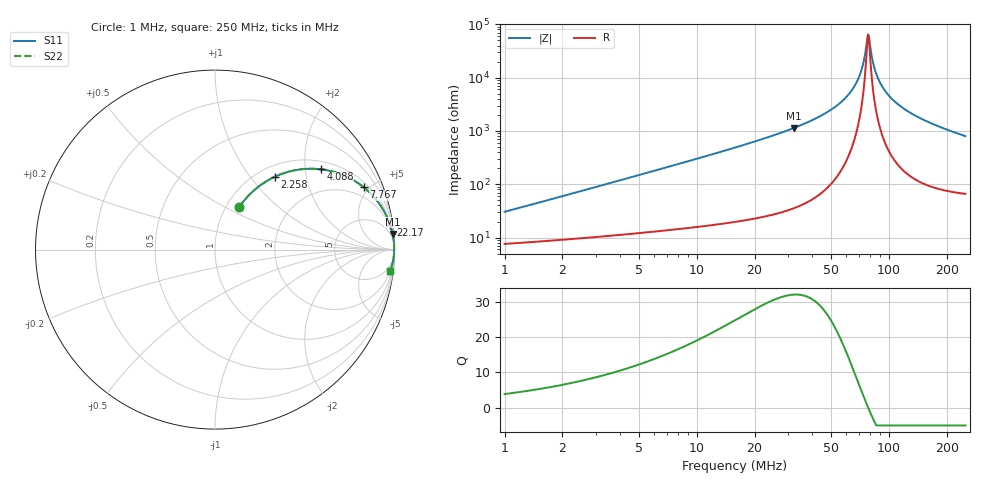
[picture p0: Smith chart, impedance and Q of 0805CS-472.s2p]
# MHz S MA R 50
!Freq  MagS11  AngS11  MagS21  AngS21  MagS12  AngS12  MagS22  AngS22
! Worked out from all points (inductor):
!   801 points, 1 MHz to 250 MHz, reference 50 ohm
!   read as one part in series: L = 4.7 uH near 1.028 MHz
!   highest Q = 32 at 31.97 MHz (marker M1), where L = 5.65 uH
!   self-resonance near 77.87 MHz
!   S11 on the Smith chart (normalised r, x): 1 MHz: 1.15, +0.59; 2.258 MHz: 1.19, +1.33; 4.088 MHz: 1.23, +2.42; 7.767 MHz: 1.28, +4.63; 22.17 MHz: 1, +14; 250 MHz: 2, -16
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1  0.2733 60.2  0.8962 -15.3  0.8962 -15.3  0.2733 60.2
2.257856  0.5258 50.6  0.7803 -31.4  0.7803 -31.4  0.5258 50.6
2.521477  0.5667 48.4  0.7539 -34.2  0.7539 -34.2  0.5667 48.4
4.087659  0.7393 37.3  0.6081 -47.4  0.6081 -47.4  0.7393 37.3
6.314115  0.8585 27.1  0.4563 -58.9  0.4563 -58.9  0.8585 27.1
7.766677  0.8986 22.7  0.3872 -63.7  0.3872 -63.7  0.8986 22.7
15.92089  0.9723 11.4  0.198 -76.3  0.198 -76.3  0.9723 11.4
22.17399  0.9857 7.9  0.1383 -80.1  0.1383 -80.1  0.9857 7.9
31.9674  0.9934 5.0  0.08755 -83.2  0.08755 -83.2  0.9934 5.0
39.86805  0.996 3.6  0.06251 -84.6  0.06251 -84.6  0.996 3.6
52.90776  0.9979 2.0  0.03453 -85.5  0.03453 -85.5  0.9979 2.0
63.74555  0.9984 1.0  0.0177 -84.3  0.0177 -84.3  0.9984 1.0
71.18831  0.9985 0.5  0.00811 -79.1  0.00811 -79.1  0.9985 0.5
73.68783  0.9985 0.3  0.005197 -73.1  0.005197 -73.1  0.9985 0.3
76.27512  0.9985 0.1  0.002501 -52.6  0.002501 -52.6  0.9985 0.1
77.8709  0.9985 0.0  0.001548 -7.3  0.001548 -7.3  0.9985 0.0
79.50006  0.9984 -0.1  0.002229 45.6  0.002229 45.6  0.9984 -0.1
83.43522  0.9984 -0.3  0.006003 74.1  0.006003 74.1  0.9984 -0.3
86.96289  0.9983 -0.5  0.009527 79.3  0.009527 79.3  0.9983 -0.5
99.83492  0.9978 -1.2  0.0216 83.5  0.0216 83.5  0.9978 -1.2
140.0091  0.9952 -3.1  0.05339 83.3  0.05339 83.3  0.9952 -3.1
250  0.9823 -7.0  0.1229 78.2  0.1229 78.2  0.9823 -7.0
